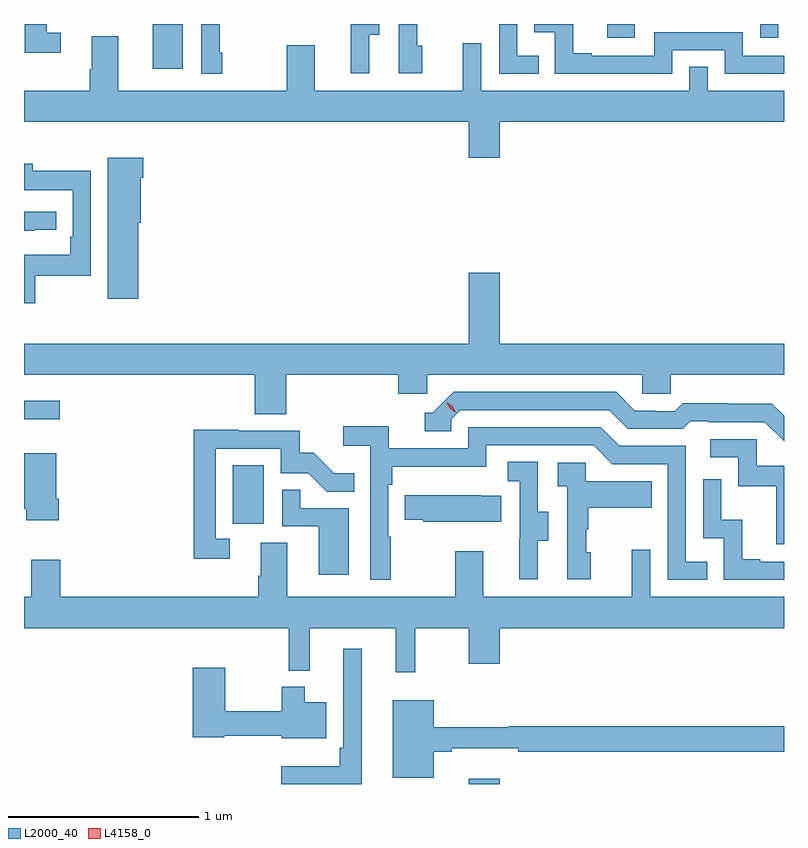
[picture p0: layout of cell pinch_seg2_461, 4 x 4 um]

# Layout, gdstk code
import gdstk
lib = gdstk.Library(unit=1e-6, precision=1e-09)
def R(c, l, rs):  # rectangles x0, y0, x1, y1
    for r in rs: c.add(gdstk.rectangle(r[:2], r[2:], *l))
def P(c, l, *ps):  # polygons
    for p in ps: c.add(gdstk.Polygon(p, *l))
L2000_40 = (2000, 40)
L4158_0 = (4158, 0)

pinch_seg2_461 = lib.new_cell('pinch_seg2_461')
R(pinch_seg2_461, L2000_40, [(932.24,589.539,932.404,589.567), (930.998,590.91,931.162,591.217), (929.9,591.459,930.088,591.556), (930.578,593.304,930.736,593.539), (932.971,593.466,933.115,593.539), (933.774,593.466,933.871,593.539)])
P(pinch_seg2_461, L2000_40, [(930.094,593.493),(930.021,593.493),(930.021,593.539),(929.905,593.539),(929.905,593.388),(930.094,593.388)],
  [(931.717,593.482),(931.771,593.482),(931.771,593.539),(931.62,593.539),(931.62,593.493),(931.619,593.493),(931.619,593.28),(931.717,593.28)],
  [(932.609,593.373),(932.496,593.373),(932.496,593.539),(932.4,593.539),(932.4,593.277),(932.609,593.277)],
  [(930.943,593.389),(930.93,593.389),(930.93,593.539),(930.834,593.539),(930.834,593.277),(930.943,593.277)],
  [(931.996,593.424),(931.971,593.424),(931.971,593.539),(931.872,593.539),(931.872,593.28),(931.996,593.28)],
  [(933.312,593.4),(933.588,593.4),(933.588,593.277),(933.9,593.277),(933.9,593.373),(933.684,593.373),(933.684,593.496),(933.216,593.496),(933.216,593.373),(932.887,593.373),(932.887,593.386),(932.792,593.386),(932.792,593.539),(932.586,593.539),(932.586,593.496),(932.694,593.496),(932.694,593.277),(933.312,593.277)],
  [(932.404,593.024),(933.9,593.024),(933.9,593.188),(933.498,593.188),(933.498,593.315),(933.402,593.315),(933.402,593.188),(932.307,593.188),(932.307,593.437),(932.21,593.437),(932.21,593.188),(931.429,593.188),(931.429,593.428),(931.282,593.428),(931.282,593.188),(930.397,593.188),(930.397,593.474),(930.257,593.474),(930.257,593.3),(930.245,593.3),(930.245,593.188),(929.9,593.188),(929.9,593.024),(932.24,593.024),(932.24,592.836),(932.404,592.836)],
  [(930.502,592.494),(930.514,592.494),(930.514,592.73),(930.527,592.73),(930.527,592.834),(930.341,592.834),(930.341,592.092),(930.502,592.092)],
  [(929.959,592.215),(930.252,592.215),(930.252,592.766),(929.947,592.766),(929.947,592.804),(929.9,592.804),(929.9,592.665),(930.156,592.665),(930.156,592.42),(930.143,592.42),(930.143,592.324),(929.9,592.324),(929.9,592.068),(929.959,592.068)],
  [(929.957,592.455),(930.07,592.455),(930.07,592.551),(929.9,592.551),(929.9,592.45),(929.957,592.45)],
  [(931.28,591.692),(931.871,591.692),(931.871,591.594),(932.022,591.594),(932.022,591.692),(933.153,591.692),(933.153,591.594),(933.303,591.594),(933.303,591.692),(933.9,591.692),(933.9,591.856),(932.404,591.856),(932.404,592.231),(932.24,592.231),(932.24,591.856),(929.9,591.856),(929.9,591.692),(931.115,591.692),(931.115,591.484),(931.28,591.484)],
  [(933.9,591.477),(933.836,591.541),(933.6,591.541),(933.6,591.544),(933.367,591.544),(933.325,591.501),(933.222,591.501),(933.222,591.504),(933.115,591.504),(933.016,591.603),(932.163,591.603),(932.052,591.492),(932.009,591.492),(932.009,591.396),(932.148,591.396),(932.148,591.459),(932.196,591.507),(932.979,591.507),(933.078,591.408),(933.367,591.408),(933.406,591.447),(933.505,591.447),(933.505,591.444),(933.798,591.444),(933.9,591.342)],
  [(931.831,590.84),(931.818,590.84),(931.818,591.113),(931.838,591.113),(931.838,591.209),(932.334,591.209),(932.334,591.321),(932.898,591.321),(932.997,591.222),(933.288,591.222),(933.288,590.613),(933.497,590.613),(933.497,590.709),(933.384,590.709),(933.384,591.318),(933.034,591.318),(932.935,591.417),(932.238,591.417),(932.238,591.306),(931.82,591.306),(931.82,591.422),(931.581,591.422),(931.581,591.32),(931.722,591.32),(931.722,590.613),(931.831,590.613)],
  [(930.982,590.829),(930.909,590.829),(930.909,591.303),(931.251,591.303),(931.251,591.174),(931.395,591.174),(931.493,591.076),(931.637,591.076),(931.637,591.175),(931.533,591.175),(931.426,591.282),(931.35,591.282),(931.35,591.399),(931.031,591.399),(931.031,591.404),(930.793,591.404),(930.793,590.724),(930.982,590.724)],
  [(933.9,591.213),(933.756,591.213),(933.756,591.354),(933.513,591.354),(933.513,591.258),(933.66,591.258),(933.66,591.105),(933.859,591.105),(933.859,590.802),(933.9,590.802)],
  [(930.083,591.04),(930.07,591.04),(930.07,591.28),(929.9,591.28),(929.9,590.988),(929.912,590.988),(929.912,590.928),(930.083,590.928)],
  [(932.605,590.818),(932.659,590.818),(932.659,590.973),(932.604,590.973),(932.604,591.236),(932.445,591.236),(932.445,591.133),(932.508,591.133),(932.508,590.829),(932.507,590.829),(932.507,590.616),(932.605,590.616)],
  [(932.884,590.76),(932.859,590.76),(932.859,590.879),(932.869,590.879),(932.869,590.993),(933.203,590.993),(933.203,591.133),(932.856,591.133),(932.856,591.231),(932.709,591.231),(932.709,591.107),(932.76,591.107),(932.76,590.616),(932.884,590.616)],
  [(933.9,590.709),(933.775,590.709),(933.775,590.722),(933.68,590.722),(933.68,590.93),(933.57,590.93),(933.57,591.142),(933.474,591.142),(933.474,590.832),(933.582,590.832),(933.582,590.613),(933.9,590.613)],
  [(931.609,590.991),(931.355,590.991),(931.355,591.089),(931.26,591.089),(931.26,590.895),(931.451,590.895),(931.451,590.64),(931.609,590.64)],
  [(932.411,591.055),(932.303,591.055),(932.303,591.058),(931.903,591.058),(931.903,590.929),(932.001,590.929),(932.001,590.918),(932.411,590.918)],
  [(931.145,590.81),(931.145,590.636),(931.133,590.636),(931.133,590.524),(930.092,590.524),(930.092,590.719),(929.939,590.719),(929.939,590.524),(929.9,590.524),(929.9,590.36),(931.293,590.36),(931.293,590.135),(931.403,590.135),(931.403,590.36),(931.856,590.36),(931.856,590.127),(931.958,590.127),(931.958,590.36),(932.24,590.36),(932.24,590.172),(932.404,590.172),(932.404,590.36),(933.9,590.36),(933.9,590.524),(933.195,590.524),(933.195,590.773),(933.098,590.773),(933.098,590.524),(932.317,590.524),(932.317,590.764),(932.17,590.764),(932.17,590.524),(931.285,590.524),(931.285,590.81)],
  [(931.678,590.251),(931.581,590.251),(931.581,589.729),(931.561,589.729),(931.561,589.633),(931.254,589.633),(931.254,589.539),(931.678,589.539)],
  [(931.492,589.969),(931.378,589.969),(931.378,590.05),(931.256,590.05),(931.256,589.921),(930.958,589.921),(930.958,590.152),(930.788,590.152),(930.788,589.784),(930.954,589.784),(930.954,589.792),(931.256,589.792),(931.256,589.781),(931.492,589.781)],
  [(932.056,589.708),(932.152,589.708),(932.152,589.727),(932.5,589.727),(932.5,589.708),(933.9,589.708),(933.9,589.844),(932.452,589.844),(932.452,589.837),(932.056,589.837),(932.056,589.981),(931.841,589.981),(931.841,589.571),(932.056,589.571)])
P(pinch_seg2_461, L4158_0, [(932.173,591.494),(932.143,591.514),(932.126,591.546),(932.126,591.546),(932.127,591.546),(932.157,591.527),(932.173,591.494),(932.173,591.494)])

lib.write_gds('pinch_seg2_461.gds')
